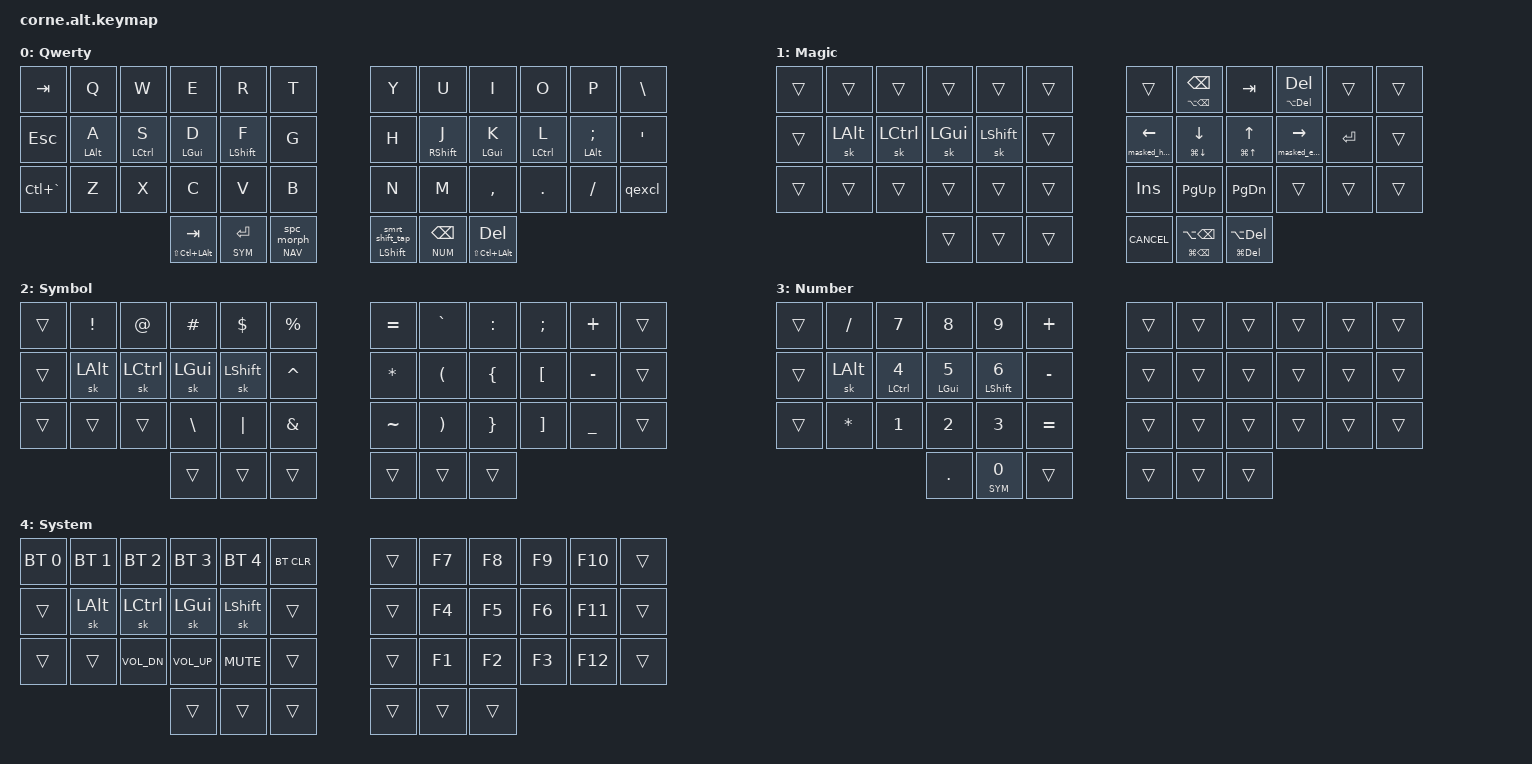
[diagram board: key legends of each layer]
#include <behaviors.dtsi>
#include <dt-bindings/zmk/keys.h>
#include <dt-bindings/zmk/bt.h>
#include <dt-bindings/zmk/outputs.h>

#define DEF 0
#define NAV 1
#define SYM 2
#define NUM 3
#define SYS 4

#define XXX &none
#define ___ &trans

/* Global defaults */

#define QUICK_TAP_MS 175

#define COMBO_TERM_FAST 22
#define COMBO_TERM_SLOW 30

#define COMBO_IDLE_FAST 150
#define COMBO_IDLE_SLOW 50

#define LT0  5  // left-top row
#define LT1  4
#define LT2  3
#define LT3  2
#define LT4  1
#define LT5  0

#define RT0  6  // right-top row
#define RT1  7
#define RT2  8
#define RT3  9
#define RT4 10
#define RT5 11

#define LM0 17  // left-middle row
#define LM1 16
#define LM2 15
#define LM3 14
#define LM4 13
#define LM5 12

#define RM0 18  // right-middle row
#define RM1 19
#define RM2 20
#define RM3 21
#define RM4 22
#define RM5 23

#define LB0 29  // left-bottom row
#define LB1 28
#define LB2 27
#define LB3 26
#define LB4 25
#define LB5 24

#define RB0 30  // right-bottom row
#define RB1 31
#define RB2 32
#define RB3 33
#define RB4 34
#define RB5 35

#define LH0 38  // left thumb keys
#define LH1 37
#define LH2 36

#define RH0 39  // right thumb keys
#define RH1 40
#define RH2 41

&sk {
  release-after-ms = <900>;
  quick-release;
};

&sl { // Allow sticky mods to chord across sticky layers.
  ignore-modifiers;
};

&lt {
  flavor = "balanced";
  tapping-term-ms = <200>;
  quick-tap-ms = <QUICK_TAP_MS>;
};

/* Homerow mods */

#define KEYS_L LT0 LT1 LT2 LT3 LT4 LT5 LM0 LM1 LM2 LM3 LM4 LM5 LB0 LB1 LB2 LB3 LB4 LB5
#define KEYS_R RT0 RT1 RT2 RT3 RT4 RT5 RM0 RM1 RM2 RM3 RM4 RM5 RB0 RB1 RB2 RB3 RB4 RB5
#define THUMBS LH2 LH1 LH0 RH0 RH1 RH2

/* Nav cluster */

&mt { // Trigger tap-action on all interrupts.
  flavor = "tap-preferred";
  tapping-term-ms = <220>;
  quick-tap-ms = <220>;
  hold-trigger-key-positions = <0>;
};

// Home-row mods
#define HRGRAVE &hml LALT         GRAVE
#define HRDLLR  &hml LCTL         DLLR
#define HRPRCNT &hml LGUI         PRCNT
#define HRCARET &hml LSHFT        CARET
#define LTHUMB  &hmt LS(LC(LALT)) TAB
#define RTHUMB  &hmt LS(LC(LALT)) DEL

#define NAV_LEFT  &mt_home 0   LEFT     // Tap: left         | Long-tap: start of line.
#define NAV_RIGHT &mt_end 0    RIGHT    // Tap: right        | Long-tap: end   of line.
#define NAV_UP    &mt LG(UP)   UP       // Tap: up           | Long-tap: start of doc.
#define NAV_DOWN  &mt LG(DOWN) DOWN     // Tap: down         | Long-tap: end   of doc.
#define NAV_BACK  &mt LG(BSPC) LA(BSPC) // Tap: delete word  | Long-tap: delete line.
#define NAV_FORW  &mt LG(DEL)  LA(DEL)  // Tap: del word     | Long-tap: delete line fwd.
#define NAV_BSPC  &mt LA(BSPC) BSPC     // Tap: backspace    | Long-tap: delete word.
#define NAV_DEL   &mt LA(DEL)  DEL      // Tap: delete       | Long-tap: delete word fwd.

/* Magic-shift & auto-layers */
#define SMRT_SHIFT &smrt_shift LSHFT 0

// Misc aliases. [TODO: clean up]
#define CANCEL    &kp K_CANCEL            // Cancel caps-word & auto-layers.
#define TERMNL    &kp LC(GRAVE)           // Open Terminal in VSCode
#define DSK_APP   &hmr LSHFT LC(DOWN)     // Application windows.
#define DSK_ALL   &hmr LGUI  LC(UP)       // Mission Control.
#define DSK_NEXT  &hmr LCTRL LC(RIGHT)    // Next desktop.

/ {
  behaviors {
    hml: hml {
      compatible = "zmk,behavior-hold-tap";
      #binding-cells = <2>;
      bindings = <&kp>, <&kp>;
      flavor = "balanced";
      tapping-term-ms = <280>;
      quick-tap-ms = <QUICK_TAP_MS>;
      require-prior-idle-ms = <120>;
      hold-trigger-on-release;
      hold-trigger-key-positions = <KEYS_R THUMBS>;
    };
    hmr: hmr {
      compatible = "zmk,behavior-hold-tap";
      #binding-cells = <2>;
      bindings = <&kp>, <&kp>;
      flavor = "balanced";
      tapping-term-ms = <280>;
      quick-tap-ms = <QUICK_TAP_MS>;
      require-prior-idle-ms = <120>;
      hold-trigger-on-release;
      hold-trigger-key-positions = <KEYS_L THUMBS>;
    };
    hmt: hmt {
      compatible = "zmk,behavior-hold-tap";
      #binding-cells = <2>;
      bindings = <&kp>, <&kp>;
      flavor = "balanced";
      tapping-term-ms = <280>;
      quick-tap-ms = <QUICK_TAP_MS>;
      require-prior-idle-ms = <120>;
      hold-trigger-on-release;
      hold-trigger-key-positions = <KEYS_L KEYS_R>;
    };
    hm_combo_lpar: hm_combo_lpar {
      compatible = "zmk,behavior-hold-tap";
      #binding-cells = <2>;
      bindings = <&kp>, <&lpar_lt>;
      flavor = "balanced";
      tapping-term-ms = <280>;
      quick-tap-ms = <QUICK_TAP_MS>;
      require-prior-idle-ms = <120>;
      hold-trigger-on-release;
      hold-trigger-key-positions = <KEYS_L>;
    };
    hm_combo_rpar: hm_combo_rpar {
      compatible = "zmk,behavior-hold-tap";
      #binding-cells = <2>;
      bindings = <&kp>, <&rpar_gt>;
      flavor = "balanced";
      tapping-term-ms = <280>;
      quick-tap-ms = <QUICK_TAP_MS>;
      require-prior-idle-ms = <120>;
      hold-trigger-on-release;
      hold-trigger-key-positions = <KEYS_L>;
    };

    mt_home: mt_home {
      compatible = "zmk,behavior-hold-tap";
      #binding-cells = <2>;
      bindings = <&masked_home>, <&kp>;
      flavor = "tap-preferred";
      tapping-term-ms = <220>;
      quick-tap-ms = <220>;
      hold-trigger-key-positions = <0>;
    };
    mt_end: mt_end {
      compatible = "zmk,behavior-hold-tap";
      #binding-cells = <2>;
      bindings = <&masked_end>, <&kp>;
      flavor = "tap-preferred";
      tapping-term-ms = <220>;
      quick-tap-ms = <220>;
      hold-trigger-key-positions = <0>;
    };

    // Tap: sticky-shift
    // Shift + tap/ double-tap: caps-word | Hold: shift.
    smrt_shift: smrt_shift {
      compatible = "zmk,behavior-hold-tap";
      #binding-cells = <2>;
      bindings = <&kp>, <&smrt_shift_tap>;
      flavor = "balanced";
      tapping-term-ms = <200>;
      quick-tap-ms = <QUICK_TAP_MS>;
    };
    smrt_shift_tap: smrt_shift_tap {
      compatible = "zmk,behavior-mod-morph";
      #binding-cells = <0>;
      bindings = <&sk LSHFT>, <&caps_word>;
      mods = <(MOD_LSFT)>;
    };

    // Mask GUI on left/right hold to avoid accidental jumps to start/end of doc.
    masked_home: masked_home {
      compatible = "zmk,behavior-mod-morph";
      #binding-cells = <0>;
      bindings = <&kp LG(LEFT)>, <&kp LG(LEFT)>;
      mods = <(MOD_LGUI)>;
    };
    masked_end: masked_end {
      compatible = "zmk,behavior-mod-morph";
      #binding-cells = <0>;
      bindings = <&kp LG(RIGHT)>, <&kp LG(RIGHT)>;
      mods = <(MOD_LGUI)>;
    };

    // Tap: comma | Shift + tap: semicolon | GUI + shift + tap: <.
    comma_morph: comma_morph {
      compatible = "zmk,behavior-mod-morph";
      #binding-cells = <0>;
      bindings = <&kp COMMA>, <&comma_inner_morph>;
      mods = <(MOD_LSFT | MOD_RSFT)>;
    };
    comma_inner_morph: comma_inner_morph {
      compatible = "zmk,behavior-mod-morph";
      #binding-cells = <0>;
      bindings = <&kp SEMICOLON>, <&kp LESS_THAN>;
      mods = <(MOD_LGUI | MOD_RGUI)>;
    };

    // Tap: dot | Shift + tap: colon | GUI + shift + tap: >.
    dot_morph: dot_morph {
      compatible = "zmk,behavior-mod-morph";
      #binding-cells = <0>;
      bindings = <&kp DOT>, <&dot_inner_morph>;
      mods = <(MOD_LSFT | MOD_RSFT)>;
    };
    dot_inner_morph: dot_inner_morph {
      compatible = "zmk,behavior-mod-morph";
      #binding-cells = <0>;
      bindings = <&kp COLON>, <&kp GREATER_THAN>;
      mods = <(MOD_LGUI | MOD_RGUI)>;
    };

    // Tap: qmark | Shift + tap: excl.
    qexcl: qexcl {
      compatible = "zmk,behavior-mod-morph";
      #binding-cells = <0>;
      bindings = <&kp QMARK>, <&kp EXCL>;
      mods = <(MOD_LSFT | MOD_RSFT)>;
    };

    // Tap: left/right parenthesis | Shft + tap: less-than/greater-than.
    lpar_lt: lpar_lt {
      compatible = "zmk,behavior-mod-morph";
      #binding-cells = <0>;
      bindings = <&kp LPAR>, <&kp LT>;
      mods = <(MOD_LSFT | MOD_RSFT)>;
    };
    rpar_gt: rpar_lt {
      compatible = "zmk,behavior-mod-morph";
      #binding-cells = <0>;
      bindings = <&kp RPAR>, <&kp GT>;
      mods = <(MOD_LSFT | MOD_RSFT)>;
    };

    // Tap: space | Shift + tap: dot -> space -> sticky shift | Hold: nav layer.
    lt_spc: lt_spc {
      compatible = "zmk,behavior-hold-tap";
      #binding-cells = <2>;
      bindings = <&mo>, <&spc_morph>;
      flavor = "balanced";
      tapping-term-ms = <200>;
      quick-tap-ms = <QUICK_TAP_MS>;
    };
    spc_morph: spc_morph {
      compatible = "zmk,behavior-mod-morph";
      #binding-cells = <0>;
      bindings = <&kp SPACE>, <&dot_spc>;
      mods = <(MOD_LSFT | MOD_RSFT)>;
    };
    dot_spc: dot_spc {
      compatible = "zmk,behavior-macro";
      #binding-cells = <0>;
      bindings = <&kp DOT &kp SPACE &sk LSHFT>;
      wait-ms = <0>;
      tap-ms = <5>;
    };

    // Tap: copy | double-tap: cut.
    copy_cut: copy_cut {
      compatible = "zmk,behavior-tap-dance";
      #binding-cells = <0>;
      bindings = <&kp LG(C)>, <&kp LG(X)>;
      tapping-term-ms = <200>;
    };
  };
  combos {
    compatible = "zmk,combos";

    /* Horizontal combos - left hand */
    combo_cut {
      bindings = <&kp LG(X)>;
      key-positions = <LB3 LB1>;
      layers = <DEF NAV NUM>;
      timeout-ms = <COMBO_TERM_FAST>;
      require-prior-idle-ms = <COMBO_IDLE_FAST>;
    };
    combo_copy {
      bindings = <&kp LG(C)>;
      key-positions = <LB3 LB2>;
      layers = <DEF NAV NUM>;
      timeout-ms = <COMBO_TERM_FAST>;
      require-prior-idle-ms = <COMBO_IDLE_FAST>;
    };
    combo_paste {
      bindings = <&kp LG(V)>;
      key-positions = <LB2 LB1>;
      layers = <DEF NAV NUM>;
      timeout-ms = <COMBO_TERM_FAST>;
      require-prior-idle-ms = <COMBO_IDLE_FAST>;
    };

    /* Horizontal combos - right hand */
    combo_bspc {
      bindings = <&kp BSPC>;
      key-positions = <RT1 RT2>;
      layers = <DEF NAV NUM>;
      timeout-ms = <COMBO_TERM_FAST>;
      require-prior-idle-ms = <COMBO_IDLE_FAST>;
    };
    combo_del {
      bindings = <&kp DEL>;
      key-positions = <RT2 RT3>;
      layers = <DEF NAV NUM>;
      timeout-ms = <COMBO_TERM_FAST>;
      require-prior-idle-ms = <COMBO_IDLE_FAST>;
    };

    combo_lpar {
      bindings = <&hm_combo_lpar RS(LGUI) 0>;
      key-positions = <RM1 RM2>;
      layers = <DEF NUM>;
      timeout-ms = <COMBO_TERM_FAST>;
      require-prior-idle-ms = <COMBO_IDLE_FAST>;
    };
    combo_rpar {
      bindings = <&hm_combo_rpar LC(LGUI) 0>;
      key-positions = <RM2 RM3>;
      layers = <DEF NUM>;
      timeout-ms = <COMBO_TERM_FAST>;
      require-prior-idle-ms = <COMBO_IDLE_FAST>;
    };
    combo_lt {
      bindings = <&kp LT>;
      key-positions = <RM1 RM2>;
      layers = <NAV>;
      timeout-ms = <COMBO_TERM_FAST>;
      require-prior-idle-ms = <COMBO_IDLE_FAST>;
    };
    combo_gt {
      bindings = <&kp GT>;
      key-positions = <RM2 RM3>;
      layers = <NAV>;
      timeout-ms = <COMBO_TERM_FAST>;
      require-prior-idle-ms = <COMBO_IDLE_FAST>;
    };

    combo_lbkt {
      bindings = <&kp LBKT>;
      key-positions = <RB1 RB2>;
      layers = <DEF NUM>;
      timeout-ms = <COMBO_TERM_FAST>;
      require-prior-idle-ms = <COMBO_IDLE_FAST>;
    };
    combo_rbkt {
      bindings = <&kp RBKT>;
      key-positions = <RB2 RB3>;
      layers = <DEF NUM>;
      timeout-ms = <COMBO_TERM_FAST>;
      require-prior-idle-ms = <COMBO_IDLE_FAST>;
    };
    combo_lbrc {
      bindings = <&kp LBRC>;
      key-positions = <RB1 RB2>;
      layers = <NAV>;
      timeout-ms = <COMBO_TERM_FAST>;
      require-prior-idle-ms = <COMBO_IDLE_FAST>;
    };
    combo_rbrc {
      bindings = <&kp RBRC>;
      key-positions = <RB2 RB3>;
      layers = <NAV>;
      timeout-ms = <COMBO_TERM_FAST>;
      require-prior-idle-ms = <COMBO_IDLE_FAST>;
    };
  };

  conditional_layers {
    compatible = "zmk,conditional-layers";
    tri_layer_sys {
      if-layers = <NUM SYM>;
      then-layer = <SYS>;
    };
  };
  
  keymap {
    compatible = "zmk,keymap";

    def {
      bindings = <
//╭─────────────┬─────────────┬─────────────┬─────────────┬─────────────┬─────────────╮ ╭─────────────┬─────────────┬─────────────┬─────────────┬─────────────┬─────────────╮
    &kp TAB       &kp Q         &kp W         &kp E         &kp R         &kp T           &kp Y         &kp U         &kp I         &kp O         &kp P         &kp BSLH
//├─────────────┼─────────────┼─────────────┼─────────────┼─────────────┼─────────────┤ ├─────────────┼─────────────┼─────────────┼─────────────┼─────────────┼─────────────┤
    &kp ESC       &hml LALT A   &hml LCTRL S  &hml LGUI D   &hml LSHFT F  &kp G           &kp H         &hmr RSHFT J  &hmr LGUI K   &hmr LCTRL L  &hmr LALT SEMI &kp SQT
//├─────────────┼─────────────┼─────────────┼─────────────┼─────────────┼─────────────┤ ├─────────────┼─────────────┼─────────────┼─────────────┼─────────────┼─────────────┤
    TERMNL        &kp Z         &kp X         &kp C         &kp V         &kp B           &kp N         &kp M         &kp COMMA     &kp DOT       &kp FSLH      &qexcl
//╰─────────────┼─────────────┴─────────────┼─────────────┼─────────────┼─────────────┤ ├─────────────┼─────────────┼─────────────┼─────────────┴─────────────┴─────────────╯
                                              LTHUMB        &lt SYM RET   &lt_spc NAV 0   SMRT_SHIFT    &lt NUM BSPC  RTHUMB
//                                          ╰─────────────┴─────────────┴─────────────╯ ╰─────────────┴─────────────┴─────────────╯
      >;

      label = "Qwerty";
    };
    nav {
      bindings = <
      // \  /
//╭─────────────┬─────────────┬─────────────┬─────────────┬─────────────┬─────────────╮ ╭─────────────┬─────────────┬─────────────┬─────────────┬─────────────┬─────────────╮
    ___           ___           ___           ___           ___           ___             ___           NAV_BSPC      &kp TAB       NAV_DEL       ___           ___
//├─────────────┼─────────────┼─────────────┼─────────────┼─────────────┼─────────────┤ ├─────────────┼─────────────┼─────────────┼─────────────┼─────────────┼─────────────┤
    ___           &sk LALT      &sk LCTRL     &sk LGUI      &sk LSHFT     ___             NAV_LEFT      NAV_DOWN      NAV_UP        NAV_RIGHT     &kp RET       ___
//├─────────────┼─────────────┼─────────────┼─────────────┼─────────────┼─────────────┤ ├─────────────┼─────────────┼─────────────┼─────────────┼─────────────┼─────────────┤
    ___           ___           ___           ___           ___           ___             &kp INS       &kp PG_UP     &kp PG_DN     ___           ___           ___
//╰─────────────┼─────────────┴─────────────┼─────────────┼─────────────┼─────────────┤ ├─────────────┼─────────────┼─────────────┼─────────────┴─────────────┴─────────────╯
                                              ___           ___           ___             CANCEL        NAV_BACK      NAV_FORW
//                                          ╰─────────────┴─────────────┴─────────────╯ ╰─────────────┴─────────────┴─────────────╯
      >;

      label = "Magic";
    };
    sym {
      bindings = <
//╭─────────────┬─────────────┬─────────────┬─────────────┬─────────────┬─────────────╮ ╭─────────────┬─────────────┬─────────────┬─────────────┬─────────────┬─────────────╮
    ___           &kp EXCL      &kp AT        &kp HASH      &kp DLLR      &kp PRCNT       &kp EQUAL     &kp GRAVE     &kp COLON     &kp SEMI      &kp PLUS      ___
//├─────────────┼─────────────┼─────────────┼─────────────┼─────────────┼─────────────┤ ├─────────────┼─────────────┼─────────────┼─────────────┼─────────────┼─────────────┤
    ___           &sk LALT      &sk LCTRL     &sk LGUI      &sk LSHFT     &kp CARET       &kp STAR      &kp LPAR      &kp LBRC      &kp LBKT      &kp MINUS     ___
//├─────────────┼─────────────┼─────────────┼─────────────┼─────────────┼─────────────┤ ├─────────────┼─────────────┼─────────────┼─────────────┼─────────────┼─────────────┤
    ___           ___           ___           &kp BSLH      &kp PIPE      &kp AMPS        &kp TILDE     &kp RPAR      &kp RBRC      &kp RBKT      &kp UNDER     ___
//╰─────────────┼─────────────┴─────────────┼─────────────┼─────────────┼─────────────┤ ├─────────────┼─────────────┼─────────────┼─────────────┴─────────────┴─────────────╯
                                               ___           ___           ___             ___           ___           ___
//                                          ╰─────────────┴─────────────┴─────────────╯ ╰─────────────┴─────────────┴─────────────╯
  >;
    
      label = "Symbol";
    };
    num {
      bindings = <
//╭─────────────┬─────────────┬─────────────┬─────────────┬─────────────┬─────────────╮ ╭─────────────┬─────────────┬─────────────┬─────────────┬─────────────┬─────────────╮
    ___           &kp FSLH      &kp N7        &kp N8        &kp N9        &kp PLUS        ___           ___           ___           ___           ___           ___
//├─────────────┼─────────────┼─────────────┼─────────────┼─────────────┼────────── ──┤ ├─────────────┼─────────────┼─────────────┼─────────────┼─────────────┼─────────────┤
    ___           &sk LALT      &hml LCTRL N4 &hml LGUI N5  &hml LSHFT N6 &kp MINUS       ___           ___           ___           ___           ___           ___
//├─────────────┼─────────────┼─────────────┼─────────────┼─────────────┼────────── ──┤ ├─────────────┼─────────────┼─────────────┼─────────────┼─────────────┼─────────────┤
    ___           &kp STAR      &kp N1        &kp N2        &kp N3        &kp EQUAL       ___           ___           ___           ___           ___           ___
//╰─────────────┼─────────────┴─────────────┼─────────────┼─────────────┼────────── ──┤ ├─────────────┼─────────────┼─────────────┼─────────────┴─────────────┴─────────────╯
                                              &kp DOT       &lt SYM N0    ___             ___           ___           ___
//                                          ╰─────────────┴─────────────┴─────────────╯ ╰─────────────┴─────────────┴─────────────╯
      >;

      label = "Number";
    };
    sys {
      bindings = <
//╭─────────────┬─────────────┬─────────────┬─────────────┬─────────────┬─────────────╮ ╭─────────────┬─────────────┬─────────────┬─────────────┬─────────────┬─────────────╮
    &bt BT_SEL 0  &bt BT_SEL 1  &bt BT_SEL 2  &bt BT_SEL 3  &bt BT_SEL 4  &bt BT_CLR      ___           &kp F7        &kp F8        &kp F9        &kp F10       ___
//├─────────────┼─────────────┼─────────────┼─────────────┼─────────────┼─────────────┤ ├─────────────┼─────────────┼─────────────┼─────────────┼─────────────┼─────────────┤
    ___           &sk LALT      &sk LCTRL     &sk LGUI      &sk LSHFT     ___             ___           &kp F4        &kp F5        &kp F6        &kp F11       ___
//├─────────────┼─────────────┼─────────────┼─────────────┼─────────────┼─────────────┤ ├─────────────┼─────────────┼─────────────┼─────────────┼─────────────┼─────────────┤
    ___           ___           &kp C_VOL_DN  &kp C_VOL_UP  &kp C_MUTE    ___             ___           &kp F1        &kp F2        &kp F3        &kp F12       ___
//╰─────────────┼─────────────┴─────────────┼─────────────┼─────────────┼─────────────┤ ├─────────────┼─────────────┼─────────────┼─────────────┴─────────────┴─────────────╯
                                              ___           ___           ___             ___           ___           ___
//                                          ╰─────────────┴─────────────┴─────────────╯ ╰─────────────┴─────────────┴─────────────╯
      >;

      label = "System";
    };
  };
};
